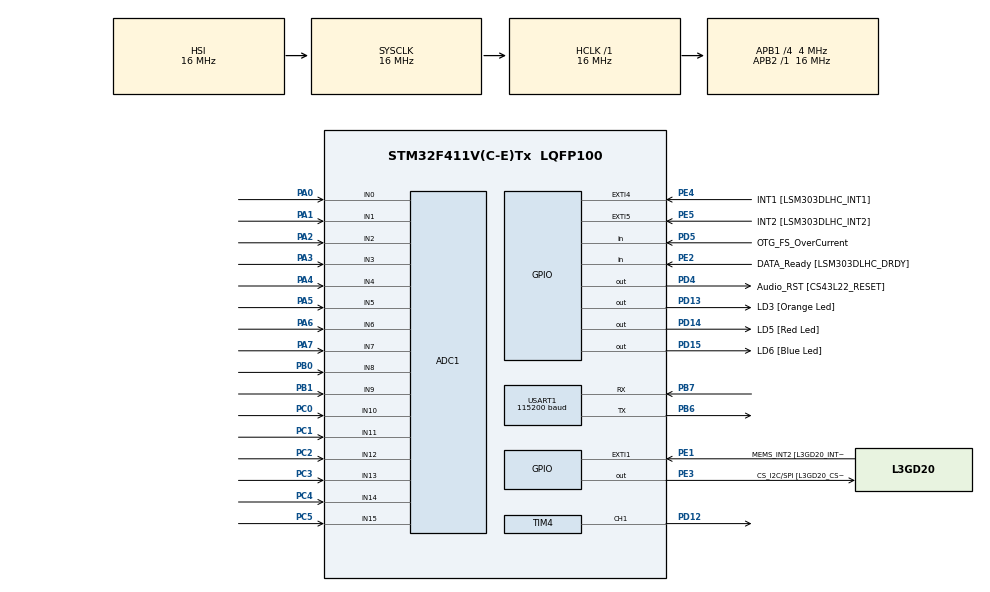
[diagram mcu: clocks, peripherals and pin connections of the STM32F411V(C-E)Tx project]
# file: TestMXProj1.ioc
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ADC1.Channel-0\#ChannelRegularConversion=ADC_CHANNEL_0
ADC1.Channel-31\#ChannelRegularConversion=ADC_CHANNEL_1
ADC1.Channel-32\#ChannelRegularConversion=ADC_CHANNEL_2
ADC1.Channel-47\#ChannelRegularConversion=ADC_CHANNEL_3
ADC1.Channel-48\#ChannelRegularConversion=ADC_CHANNEL_4
ADC1.Channel-49\#ChannelRegularConversion=ADC_CHANNEL_5
ADC1.Channel-50\#ChannelRegularConversion=ADC_CHANNEL_6
ADC1.Channel-51\#ChannelRegularConversion=ADC_CHANNEL_7
ADC1.Channel-52\#ChannelRegularConversion=ADC_CHANNEL_8
ADC1.Channel-53\#ChannelRegularConversion=ADC_CHANNEL_9
ADC1.Channel-54\#ChannelRegularConversion=ADC_CHANNEL_10
ADC1.Channel-55\#ChannelRegularConversion=ADC_CHANNEL_11
ADC1.Channel-56\#ChannelRegularConversion=ADC_CHANNEL_12
ADC1.Channel-57\#ChannelRegularConversion=ADC_CHANNEL_13
ADC1.Channel-58\#ChannelRegularConversion=ADC_CHANNEL_14
ADC1.Channel-59\#ChannelRegularConversion=ADC_CHANNEL_15
ADC1.ContinuousConvMode=ENABLE
ADC1.DMAContinuousRequests=ENABLE
ADC1.InjNumberOfConversion=0
ADC1.NbrOfConversion=16
ADC1.NbrOfConversionFlag=1
ADC1.Rank-0\#ChannelRegularConversion=1
ADC1.Rank-31\#ChannelRegularConversion=2
ADC1.Rank-32\#ChannelRegularConversion=3
ADC1.Rank-47\#ChannelRegularConversion=4
ADC1.Rank-48\#ChannelRegularConversion=5
ADC1.Rank-49\#ChannelRegularConversion=6
ADC1.Rank-50\#ChannelRegularConversion=7
ADC1.Rank-51\#ChannelRegularConversion=8
ADC1.Rank-52\#ChannelRegularConversion=9
ADC1.Rank-53\#ChannelRegularConversion=10
ADC1.Rank-54\#ChannelRegularConversion=11
ADC1.Rank-55\#ChannelRegularConversion=12
ADC1.Rank-56\#ChannelRegularConversion=13
ADC1.Rank-57\#ChannelRegularConversion=14
ADC1.Rank-58\#ChannelRegularConversion=15
ADC1.Rank-59\#ChannelRegularConversion=16
ADC1.SamplingTime-0\#ChannelRegularConversion=ADC_SAMPLETIME_144CYCLES
ADC1.SamplingTime-31\#ChannelRegularConversion=ADC_SAMPLETIME_144CYCLES
ADC1.SamplingTime-32\#ChannelRegularConversion=ADC_SAMPLETIME_144CYCLES
ADC1.SamplingTime-47\#ChannelRegularConversion=ADC_SAMPLETIME_144CYCLES
ADC1.SamplingTime-48\#ChannelRegularConversion=ADC_SAMPLETIME_144CYCLES
ADC1.SamplingTime-49\#ChannelRegularConversion=ADC_SAMPLETIME_144CYCLES
ADC1.SamplingTime-50\#ChannelRegularConversion=ADC_SAMPLETIME_144CYCLES
ADC1.SamplingTime-51\#ChannelRegularConversion=ADC_SAMPLETIME_144CYCLES
ADC1.SamplingTime-52\#ChannelRegularConversion=ADC_SAMPLETIME_144CYCLES
ADC1.SamplingTime-53\#ChannelRegularConversion=ADC_SAMPLETIME_144CYCLES
ADC1.SamplingTime-54\#ChannelRegularConversion=ADC_SAMPLETIME_144CYCLES
ADC1.SamplingTime-55\#ChannelRegularConversion=ADC_SAMPLETIME_144CYCLES
ADC1.SamplingTime-56\#ChannelRegularConversion=ADC_SAMPLETIME_144CYCLES
ADC1.SamplingTime-57\#ChannelRegularConversion=ADC_SAMPLETIME_144CYCLES
ADC1.SamplingTime-58\#ChannelRegularConversion=ADC_SAMPLETIME_144CYCLES
ADC1.SamplingTime-59\#ChannelRegularConversion=ADC_SAMPLETIME_144CYCLES
ADC1.ScanConvMode=ENABLE
ADC1.master=1
Dma.ADC1.0.Direction=DMA_PERIPH_TO_MEMORY
Dma.ADC1.0.FIFOMode=DMA_FIFOMODE_DISABLE
Dma.ADC1.0.Instance=DMA2_Stream0
Dma.ADC1.0.MemDataAlignment=DMA_MDATAALIGN_HALFWORD
Dma.ADC1.0.MemInc=DMA_MINC_ENABLE
Dma.ADC1.0.Mode=DMA_NORMAL
Dma.ADC1.0.PeriphDataAlignment=DMA_PDATAALIGN_HALFWORD
Dma.ADC1.0.PeriphInc=DMA_PINC_DISABLE
Dma.ADC1.0.Priority=DMA_PRIORITY_LOW
Dma.Request0=ADC1
Dma.Request1=USART1_TX
Dma.USART1_TX.1.Direction=DMA_MEMORY_TO_PERIPH
Dma.USART1_TX.1.FIFOMode=DMA_FIFOMODE_DISABLE
Dma.USART1_TX.1.Instance=DMA2_Stream7
Dma.USART1_TX.1.MemDataAlignment=DMA_MDATAALIGN_BYTE
Dma.USART1_TX.1.MemInc=DMA_MINC_ENABLE
Dma.USART1_TX.1.Mode=DMA_NORMAL
Dma.USART1_TX.1.PeriphDataAlignment=DMA_PDATAALIGN_BYTE
Dma.USART1_TX.1.PeriphInc=DMA_PINC_DISABLE
Dma.USART1_TX.1.Priority=DMA_PRIORITY_LOW
Mcu.Family=STM32F4
Mcu.Name=STM32F411V(C-E)Tx
Mcu.Package=LQFP100
NVIC.DMA2_Stream0_IRQn=true\:0\:0\:false\:false\:true\:false\:true\:true
NVIC.DMA2_Stream7_IRQn=true\:0\:0\:false\:false\:true\:false\:true\:true
NVIC.PriorityGroup=NVIC_PRIORITYGROUP_0
NVIC.USART1_IRQn=true\:0\:0\:false\:false\:true\:true\:true\:true
PA0-WKUP.Signal=ADCx_IN0
PA1.Signal=ADCx_IN1
PA10.GPIO_Label=OTG_FS_ID
PA10.Signal=USB_OTG_FS_ID
PA11.GPIO_Label=OTG_FS_DM
PA11.Signal=USB_OTG_FS_DM
PA13.GPIO_Label=SWDIO
PA13.Mode=Serial_Wire
PA13.Signal=SYS_JTMS-SWDIO
PA14.GPIO_Label=SWCLK
PA14.Mode=Serial_Wire
PA14.Signal=SYS_JTCK-SWCLK
PA2.Signal=ADCx_IN2
PA3.Signal=ADCx_IN3
PA4.Signal=ADCx_IN4
PA5.Signal=ADCx_IN5
PA6.Signal=ADCx_IN6
PA7.Signal=ADCx_IN7
PA9.GPIO_Label=VBUS_FS
PA9.Signal=USB_OTG_FS_VBUS
PB0.Signal=ADCx_IN8
PB1.Signal=ADCx_IN9
PB10.GPIO_Label=CLK_IN [MP45DT02_CLK]
PB10.Signal=I2S2_CK
PB12.Signal=I2S2_WS
PB3.GPIO_Label=SWO
PB3.Signal=SYS_JTDO-SWO
PB6.Mode=Asynchronous
PB6.Signal=USART1_TX
PB7.Mode=Asynchronous
PB7.Signal=USART1_RX
PB9.GPIO_Label=Audio_SDA [CS43L22_SDA]
PB9.GPIO_Mode=GPIO_MODE_AF_OD
PB9.GPIO_Pu=GPIO_PULLUP
PB9.GPIO_PuPd=GPIO_NOPULL
PB9.GPIO_Speed=GPIO_SPEED_FREQ_LOW
PB9.Signal=I2C1_SDA
PC0.Signal=ADCx_IN10
PC1.Signal=ADCx_IN11
PC10.GPIO_Label=I2S3_SCK [CS43L22_SCLK]
PC10.GPIO_Mode=GPIO_MODE_AF_PP
PC10.GPIO_PuPd=GPIO_NOPULL
PC10.GPIO_Speed=GPIO_SPEED_FREQ_LOW
PC10.Signal=I2S3_CK
PC12.GPIO_Label=I2S3_SD [CS43L22_SDIN]
PC12.GPIO_Mode=GPIO_MODE_AF_PP
PC12.GPIO_PuPd=GPIO_NOPULL
PC12.GPIO_Speed=GPIO_SPEED_FREQ_LOW
PC12.Signal=I2S3_SD
PC14-OSC32_IN.GPIO_Label=PC14-OSC32_IN
PC14-OSC32_IN.Mode=LSE-External-Oscillator
PC14-OSC32_IN.Signal=RCC_OSC32_IN
PC15-OSC32_OUT.GPIO_Label=PC15-OSC32_OUT
PC15-OSC32_OUT.Mode=LSE-External-Oscillator
PC15-OSC32_OUT.Signal=RCC_OSC32_OUT
PC2.Signal=ADCx_IN12
PC3.Signal=ADCx_IN13
PC4.Signal=ADCx_IN14
PC5.Signal=ADCx_IN15
PD12.Signal=S_TIM4_CH1
PD13.GPIO_Label=LD3 [Orange Led]
PD13.GPIO_PuPd=GPIO_NOPULL
PD13.GPIO_Speed=GPIO_SPEED_FREQ_LOW
PD13.Signal=GPIO_Output
PD14.GPIO_Label=LD5 [Red Led]
PD14.GPIO_PuPd=GPIO_NOPULL
PD14.GPIO_Speed=GPIO_SPEED_FREQ_LOW
PD14.Signal=GPIO_Output
PD15.GPIO_Label=LD6 [Blue Led]
PD15.GPIO_PuPd=GPIO_NOPULL
PD15.GPIO_Speed=GPIO_SPEED_FREQ_LOW
PD15.Signal=GPIO_Output
PD4.GPIO_Label=Audio_RST [CS43L22_RESET]
PD4.Signal=GPIO_Output
PD5.GPIO_Label=OTG_FS_OverCurrent
PD5.Signal=GPIO_Input
PE1.GPIO_Label=MEMS_INT2 [L3GD20_INT2]
PE1.GPIO_ModeDefaultEXTI=GPIO_MODE_EVT_RISING
PE1.Signal=GPXTI1
PE2.GPIO_Label=DATA_Ready [LSM303DLHC_DRDY]
PE2.Signal=GPIO_Input
PE3.GPIO_Label=CS_I2C/SPI [L3GD20_CS_I2C/SPI]
PE3.Signal=GPIO_Output
PE4.GPIO_Label=INT1 [LSM303DLHC_INT1]
PE4.GPIO_ModeDefaultEXTI=GPIO_MODE_EVT_RISING
PE4.Signal=GPXTI4
PE5.GPIO_Label=INT2 [LSM303DLHC_INT2]
PE5.GPIO_ModeDefaultEXTI=GPIO_MODE_EVT_RISING
PE5.Signal=GPXTI5
PH0\ -\ OSC_IN.GPIO_Label=PH0-OSC_IN
PH0\ -\ OSC_IN.Signal=RCC_OSC_IN
PH1\ -\ OSC_OUT.GPIO_Label=PH1-OSC_OUT
PH1\ -\ OSC_OUT.Signal=RCC_OSC_OUT
ProjectManager.HeapSize=0x200
ProjectManager.StackSize=0x400
ProjectManager.TargetToolchain=STM32CubeIDE
RCC.48MHZClocksFreq_Value=12500000
RCC.AHBFreq_Value=16000000
RCC.APB1CLKDivider=RCC_HCLK_DIV4
RCC.APB1Freq_Value=4000000
RCC.APB1TimFreq_Value=8000000
RCC.APB2Freq_Value=16000000
RCC.APB2TimFreq_Value=16000000
RCC.CortexFreq_Value=16000000
RCC.HCLKFreq_Value=16000000
RCC.HSE_VALUE=8000000
RCC.HSI_VALUE=16000000
RCC.PLLI2SM=8
RCC.PLLI2SN=200
RCC.PLLM=8
RCC.PLLN=50
RCC.PLLP=RCC_PLLP_DIV4
RCC.PLLQ=8
RCC.SYSCLKFreq_VALUE=16000000
RCC.VCOOutputFreq_Value=100000000
SH.ADCx_IN0.0=ADC1_IN0,IN0
SH.ADCx_IN1.0=ADC1_IN1,IN1
SH.ADCx_IN10.0=ADC1_IN10,IN10
SH.ADCx_IN11.0=ADC1_IN11,IN11
SH.ADCx_IN12.0=ADC1_IN12,IN12
SH.ADCx_IN13.0=ADC1_IN13,IN13
SH.ADCx_IN14.0=ADC1_IN14,IN14
SH.ADCx_IN15.0=ADC1_IN15,IN15
SH.ADCx_IN2.0=ADC1_IN2,IN2
SH.ADCx_IN3.0=ADC1_IN3,IN3
SH.ADCx_IN4.0=ADC1_IN4,IN4
SH.ADCx_IN5.0=ADC1_IN5,IN5
SH.ADCx_IN6.0=ADC1_IN6,IN6
SH.ADCx_IN7.0=ADC1_IN7,IN7
SH.ADCx_IN8.0=ADC1_IN8,IN8
SH.ADCx_IN9.0=ADC1_IN9,IN9
SH.S_TIM4_CH1.0=TIM4_CH1,PWM Generation1 CH1
TIM4.Channel-PWM\ Generation1\ CH1=TIM_CHANNEL_1
USART1.BaudRate=115200
USART1.VirtualMode=VM_ASYNC
VP_TIM4_VS_ClockSourceINT.Mode=Internal
board=STM32F411E-DISCO

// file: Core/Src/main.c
/* USER CODE BEGIN Header */
/**
  ******************************************************************************
  * @file           : main.c
  * @brief          : Main program body
  ******************************************************************************
  * @attention
  *
  * Copyright (c) 2026 STMicroelectronics.
  * All rights reserved.
  *
  * This software is licensed under terms that can be found in the LICENSE file
  * in the root directory of this software component.
  * If no LICENSE file comes with this software, it is provided AS-IS.
  *
  ******************************************************************************
  */
/* USER CODE END Header */
#include "main.h"

/* USER CODE BEGIN Includes */

//  #include "arm_math.h"

/* USER CODE END Includes */

/* USER CODE BEGIN PD */

#define NUM_CHANNELS          16

#define SAMPLES_PER_CHANNEL   256

#define ADC_BUFFER_LEN        (NUM_CHANNELS * SAMPLES_PER_CHANNEL)

/* USER CODE END PD */

ADC_HandleTypeDef hadc1;
DMA_HandleTypeDef hdma_adc1;

TIM_HandleTypeDef htim4;

UART_HandleTypeDef huart1;
DMA_HandleTypeDef hdma_usart1_tx;

/* USER CODE BEGIN PV */

uint16_t adc_buffer[ADC_BUFFER_LEN];
volatile uint8_t data_ready = 0;

// Scratch buffer holding one de-interleaved channel's worth of samples,
// used right before sending that channel's packet.
uint16_t channel_buffer[SAMPLES_PER_CHANNEL];

// Which channel's packet is currently being sent (0..NUM_CHANNELS-1).
// Cycles through all channels once per captured block before the ADC
// is allowed to restart.
volatile uint8_t current_channel_to_send = 0;

/* USER CODE END PV */

void SystemClock_Config(void);
static void MX_GPIO_Init(void);
static void MX_DMA_Init(void);
static void MX_ADC1_Init(void);
static void MX_TIM4_Init(void);
static void MX_USART1_UART_Init(void);

/* USER CODE BEGIN 0 */

void HAL_ADC_ConvCpltCallback(ADC_HandleTypeDef* hadc) {
    if (hadc->Instance == ADC1) {
        HAL_ADC_Stop_DMA(&hadc1);
        data_ready = 1;
    }
}

void Send_Channel_Packet(uint8_t ch) {
    uint8_t header[5] = {0xAA, 0xBB, 0xCC, 0xDD, ch};
    HAL_UART_Transmit(&huart1, header, 5, HAL_MAX_DELAY);

    for (uint32_t i = 0; i < SAMPLES_PER_CHANNEL; i++) {
        channel_buffer[i] = adc_buffer[i * NUM_CHANNELS + ch];
    }

    HAL_UART_Transmit_DMA(&huart1, (uint8_t*)channel_buffer,
                           SAMPLES_PER_CHANNEL * sizeof(uint16_t));
}

void HAL_UART_TxCpltCallback(UART_HandleTypeDef *huart) {
    if (huart->Instance == USART1) {
        current_channel_to_send++;
        if (current_channel_to_send < NUM_CHANNELS) {
            Send_Channel_Packet(current_channel_to_send);
        } else {
            current_channel_to_send = 0;
            HAL_ADC_Start_DMA(&hadc1, (uint32_t*)adc_buffer, ADC_BUFFER_LEN);
        }
    }
}

/* USER CODE END 0 */

int main(void)
{

  /* MCU Configuration--------------------------------------------------------*/

  /* Reset of all peripherals, Initializes the Flash interface and the Systick. */
  HAL_Init();

  /* Configure the system clock */
  SystemClock_Config();

  /* Initialize all configured peripherals */
  MX_GPIO_Init();
  MX_DMA_Init();
  MX_ADC1_Init();
  MX_TIM4_Init();
  MX_USART1_UART_Init();
  /* USER CODE BEGIN 2 */

  HAL_ADC_Start_DMA(&hadc1, (uint32_t*)adc_buffer, ADC_BUFFER_LEN);

  /* USER CODE END 2 */

  /* Infinite loop */
  /* USER CODE BEGIN WHILE */
  while (1) {
	  if (data_ready == 1) {
		  // Send only if UART finished the previous transmission
		  if (huart1.gState == HAL_UART_STATE_READY) {
			  data_ready = 0;
			  current_channel_to_send = 0;
			  Send_Channel_Packet(0);
		  }
	  }

  }
    /* USER CODE END WHILE */

}

void SystemClock_Config(void)
{
  RCC_OscInitTypeDef RCC_OscInitStruct = {0};
  RCC_ClkInitTypeDef RCC_ClkInitStruct = {0};

  /** Configure the main internal regulator output voltage
  */
  __HAL_RCC_PWR_CLK_ENABLE();
  __HAL_PWR_VOLTAGESCALING_CONFIG(PWR_REGULATOR_VOLTAGE_SCALE1);

  /** Initializes the RCC Oscillators according to the specified parameters
  * in the RCC_OscInitTypeDef structure.
  */
  RCC_OscInitStruct.OscillatorType = RCC_OSCILLATORTYPE_HSI;
  RCC_OscInitStruct.HSIState = RCC_HSI_ON;
  RCC_OscInitStruct.HSICalibrationValue = RCC_HSICALIBRATION_DEFAULT;
  RCC_OscInitStruct.PLL.PLLState = RCC_PLL_NONE;
  if (HAL_RCC_OscConfig(&RCC_OscInitStruct) != HAL_OK)
  {
    Error_Handler();
  }

  /** Initializes the CPU, AHB and APB buses clocks
  */
  RCC_ClkInitStruct.ClockType = RCC_CLOCKTYPE_HCLK|RCC_CLOCKTYPE_SYSCLK
                              |RCC_CLOCKTYPE_PCLK1|RCC_CLOCKTYPE_PCLK2;
  RCC_ClkInitStruct.SYSCLKSource = RCC_SYSCLKSOURCE_HSI;
  RCC_ClkInitStruct.AHBCLKDivider = RCC_SYSCLK_DIV1;
  RCC_ClkInitStruct.APB1CLKDivider = RCC_HCLK_DIV4;
  RCC_ClkInitStruct.APB2CLKDivider = RCC_HCLK_DIV1;

  if (HAL_RCC_ClockConfig(&RCC_ClkInitStruct, FLASH_LATENCY_0) != HAL_OK)
  {
    Error_Handler();
  }
}

static void MX_ADC1_Init(void)
{

  ADC_ChannelConfTypeDef sConfig = {0};

  /** Configure the global features of the ADC (Clock, Resolution, Data Alignment and number of conversion)
  */
  hadc1.Instance = ADC1;
  hadc1.Init.ClockPrescaler = ADC_CLOCK_SYNC_PCLK_DIV2;
  hadc1.Init.Resolution = ADC_RESOLUTION_12B;
  hadc1.Init.ScanConvMode = ENABLE;
  hadc1.Init.ContinuousConvMode = ENABLE;
  hadc1.Init.DiscontinuousConvMode = DISABLE;
  hadc1.Init.ExternalTrigConvEdge = ADC_EXTERNALTRIGCONVEDGE_NONE;
  hadc1.Init.ExternalTrigConv = ADC_SOFTWARE_START;
  hadc1.Init.DataAlign = ADC_DATAALIGN_RIGHT;
  hadc1.Init.NbrOfConversion = 16;
  hadc1.Init.DMAContinuousRequests = ENABLE;
  hadc1.Init.EOCSelection = ADC_EOC_SINGLE_CONV;
  if (HAL_ADC_Init(&hadc1) != HAL_OK)
  {
    Error_Handler();
  }

  /** Configure for the selected ADC regular channel its corresponding rank in the sequencer and its sample time.
  */
  sConfig.Channel = ADC_CHANNEL_0;
  sConfig.Rank = 1;
  sConfig.SamplingTime = ADC_SAMPLETIME_144CYCLES;
  if (HAL_ADC_ConfigChannel(&hadc1, &sConfig) != HAL_OK)
  {
    Error_Handler();
  }

  /** Configure for the selected ADC regular channel its corresponding rank in the sequencer and its sample time.
  */
  sConfig.Channel = ADC_CHANNEL_1;
  sConfig.Rank = 2;
  if (HAL_ADC_ConfigChannel(&hadc1, &sConfig) != HAL_OK)
  {
    Error_Handler();
  }

  /** Configure for the selected ADC regular channel its corresponding rank in the sequencer and its sample time.
  */
  sConfig.Channel = ADC_CHANNEL_2;
  sConfig.Rank = 3;
  if (HAL_ADC_ConfigChannel(&hadc1, &sConfig) != HAL_OK)
  {
    Error_Handler();
  }

  /** Configure for the selected ADC regular channel its corresponding rank in the sequencer and its sample time.
  */
  sConfig.Channel = ADC_CHANNEL_3;
  sConfig.Rank = 4;
  if (HAL_ADC_ConfigChannel(&hadc1, &sConfig) != HAL_OK)
  {
    Error_Handler();
  }

  /** Configure for the selected ADC regular channel its corresponding rank in the sequencer and its sample time.
  */
  sConfig.Channel = ADC_CHANNEL_4;
  sConfig.Rank = 5;
  if (HAL_ADC_ConfigChannel(&hadc1, &sConfig) != HAL_OK)
  {
    Error_Handler();
  }

  /** Configure for the selected ADC regular channel its corresponding rank in the sequencer and its sample time.
  */
  sConfig.Channel = ADC_CHANNEL_5;
  sConfig.Rank = 6;
  if (HAL_ADC_ConfigChannel(&hadc1, &sConfig) != HAL_OK)
  {
    Error_Handler();
  }

  /** Configure for the selected ADC regular channel its corresponding rank in the sequencer and its sample time.
  */
  sConfig.Channel = ADC_CHANNEL_6;
  sConfig.Rank = 7;
  if (HAL_ADC_ConfigChannel(&hadc1, &sConfig) != HAL_OK)
  {
    Error_Handler();
  }

  /** Configure for the selected ADC regular channel its corresponding rank in the sequencer and its sample time.
  */
  sConfig.Channel = ADC_CHANNEL_7;
  sConfig.Rank = 8;
  if (HAL_ADC_ConfigChannel(&hadc1, &sConfig) != HAL_OK)
  {
    Error_Handler();
  }

  /** Configure for the selected ADC regular channel its corresponding rank in the sequencer and its sample time.
  */
  sConfig.Channel = ADC_CHANNEL_8;
  sConfig.Rank = 9;
  if (HAL_ADC_ConfigChannel(&hadc1, &sConfig) != HAL_OK)
  {
    Error_Handler();
  }

  /** Configure for the selected ADC regular channel its corresponding rank in the sequencer and its sample time.
  */
  sConfig.Channel = ADC_CHANNEL_9;
  sConfig.Rank = 10;
  if (HAL_ADC_ConfigChannel(&hadc1, &sConfig) != HAL_OK)
  {
    Error_Handler();
  }

  /** Configure for the selected ADC regular channel its corresponding rank in the sequencer and its sample time.
  */
  sConfig.Channel = ADC_CHANNEL_10;
  sConfig.Rank = 11;
  if (HAL_ADC_ConfigChannel(&hadc1, &sConfig) != HAL_OK)
  {
    Error_Handler();
  }

  /** Configure for the selected ADC regular channel its corresponding rank in the sequencer and its sample time.
  */
  sConfig.Channel = ADC_CHANNEL_11;
  sConfig.Rank = 12;
  if (HAL_ADC_ConfigChannel(&hadc1, &sConfig) != HAL_OK)
  {
    Error_Handler();
  }

  /** Configure for the selected ADC regular channel its corresponding rank in the sequencer and its sample time.
  */
  sConfig.Channel = ADC_CHANNEL_12;
  sConfig.Rank = 13;
  if (HAL_ADC_ConfigChannel(&hadc1, &sConfig) != HAL_OK)
  {
    Error_Handler();
  }

  /** Configure for the selected ADC regular channel its corresponding rank in the sequencer and its sample time.
  */
  sConfig.Channel = ADC_CHANNEL_13;
  sConfig.Rank = 14;
  if (HAL_ADC_ConfigChannel(&hadc1, &sConfig) != HAL_OK)
  {
    Error_Handler();
  }

  /** Configure for the selected ADC regular channel its corresponding rank in the sequencer and its sample time.
  */
  sConfig.Channel = ADC_CHANNEL_14;
  sConfig.Rank = 15;
  if (HAL_ADC_ConfigChannel(&hadc1, &sConfig) != HAL_OK)
  {
    Error_Handler();
  }

  /** Configure for the selected ADC regular channel its corresponding rank in the sequencer and its sample time.
  */
  sConfig.Channel = ADC_CHANNEL_15;
  sConfig.Rank = 16;
  if (HAL_ADC_ConfigChannel(&hadc1, &sConfig) != HAL_OK)
  {
    Error_Handler();
  }

}

static void MX_TIM4_Init(void)
{

  TIM_ClockConfigTypeDef sClockSourceConfig = {0};
  TIM_MasterConfigTypeDef sMasterConfig = {0};
  TIM_OC_InitTypeDef sConfigOC = {0};

  htim4.Instance = TIM4;
  htim4.Init.Prescaler = 0;
  htim4.Init.CounterMode = TIM_COUNTERMODE_UP;
  htim4.Init.Period = 65535;
  htim4.Init.ClockDivision = TIM_CLOCKDIVISION_DIV1;
  htim4.Init.AutoReloadPreload = TIM_AUTORELOAD_PRELOAD_DISABLE;
  if (HAL_TIM_Base_Init(&htim4) != HAL_OK)
  {
    Error_Handler();
  }
  sClockSourceConfig.ClockSource = TIM_CLOCKSOURCE_INTERNAL;
  if (HAL_TIM_ConfigClockSource(&htim4, &sClockSourceConfig) != HAL_OK)
  {
    Error_Handler();
  }
  if (HAL_TIM_PWM_Init(&htim4) != HAL_OK)
  {
    Error_Handler();
  }
  sMasterConfig.MasterOutputTrigger = TIM_TRGO_RESET;
  sMasterConfig.MasterSlaveMode = TIM_MASTERSLAVEMODE_DISABLE;
  if (HAL_TIMEx_MasterConfigSynchronization(&htim4, &sMasterConfig) != HAL_OK)
  {
    Error_Handler();
  }
  sConfigOC.OCMode = TIM_OCMODE_PWM1;
  sConfigOC.Pulse = 0;
  sConfigOC.OCPolarity = TIM_OCPOLARITY_HIGH;
  sConfigOC.OCFastMode = TIM_OCFAST_DISABLE;
  if (HAL_TIM_PWM_ConfigChannel(&htim4, &sConfigOC, TIM_CHANNEL_1) != HAL_OK)
  {
    Error_Handler();
  }
  HAL_TIM_MspPostInit(&htim4);

}

static void MX_USART1_UART_Init(void)
{

  huart1.Instance = USART1;
  huart1.Init.BaudRate = 115200;
  huart1.Init.WordLength = UART_WORDLENGTH_8B;
  huart1.Init.StopBits = UART_STOPBITS_1;
  huart1.Init.Parity = UART_PARITY_NONE;
  huart1.Init.Mode = UART_MODE_TX_RX;
  huart1.Init.HwFlowCtl = UART_HWCONTROL_NONE;
  huart1.Init.OverSampling = UART_OVERSAMPLING_16;
  if (HAL_UART_Init(&huart1) != HAL_OK)
  {
    Error_Handler();
  }

}

static void MX_DMA_Init(void)
{

  /* DMA controller clock enable */
  __HAL_RCC_DMA2_CLK_ENABLE();

  /* DMA interrupt init */
  /* DMA2_Stream0_IRQn interrupt configuration */
  HAL_NVIC_SetPriority(DMA2_Stream0_IRQn, 0, 0);
  HAL_NVIC_EnableIRQ(DMA2_Stream0_IRQn);
  /* DMA2_Stream7_IRQn interrupt configuration */
  HAL_NVIC_SetPriority(DMA2_Stream7_IRQn, 0, 0);
  HAL_NVIC_EnableIRQ(DMA2_Stream7_IRQn);

}

static void MX_GPIO_Init(void)
{
  GPIO_InitTypeDef GPIO_InitStruct = {0};

  /* GPIO Ports Clock Enable */
  __HAL_RCC_GPIOE_CLK_ENABLE();
  __HAL_RCC_GPIOC_CLK_ENABLE();
  __HAL_RCC_GPIOH_CLK_ENABLE();
  __HAL_RCC_GPIOA_CLK_ENABLE();
  __HAL_RCC_GPIOB_CLK_ENABLE();
  __HAL_RCC_GPIOD_CLK_ENABLE();

  /*Configure GPIO pin Output Level */
  HAL_GPIO_WritePin(CS_I2C_SPI_GPIO_Port, CS_I2C_SPI_Pin, GPIO_PIN_RESET);

  /*Configure GPIO pin Output Level */
  HAL_GPIO_WritePin(GPIOD, LD3_Pin|LD5_Pin|LD6_Pin|Audio_RST_Pin, GPIO_PIN_RESET);

  /*Configure GPIO pin : DATA_Ready_Pin */
  GPIO_InitStruct.Pin = DATA_Ready_Pin;
  GPIO_InitStruct.Mode = GPIO_MODE_INPUT;
  GPIO_InitStruct.Pull = GPIO_NOPULL;
  HAL_GPIO_Init(DATA_Ready_GPIO_Port, &GPIO_InitStruct);

  /*Configure GPIO pin : CS_I2C_SPI_Pin */
  GPIO_InitStruct.Pin = CS_I2C_SPI_Pin;
  GPIO_InitStruct.Mode = GPIO_MODE_OUTPUT_PP;
  GPIO_InitStruct.Pull = GPIO_NOPULL;
  GPIO_InitStruct.Speed = GPIO_SPEED_FREQ_LOW;
  HAL_GPIO_Init(CS_I2C_SPI_GPIO_Port, &GPIO_InitStruct);

  /*Configure GPIO pins : INT1_Pin INT2_Pin MEMS_INT2_Pin */
  GPIO_InitStruct.Pin = INT1_Pin|INT2_Pin|MEMS_INT2_Pin;
  GPIO_InitStruct.Mode = GPIO_MODE_EVT_RISING;
  GPIO_InitStruct.Pull = GPIO_NOPULL;
  HAL_GPIO_Init(GPIOE, &GPIO_InitStruct);

  /*Configure GPIO pins : CLK_IN_Pin PB12 */
  GPIO_InitStruct.Pin = CLK_IN_Pin|GPIO_PIN_12;
  GPIO_InitStruct.Mode = GPIO_MODE_AF_PP;
  GPIO_InitStruct.Pull = GPIO_NOPULL;
  GPIO_InitStruct.Speed = GPIO_SPEED_FREQ_LOW;
  GPIO_InitStruct.Alternate = GPIO_AF5_SPI2;
  HAL_GPIO_Init(GPIOB, &GPIO_InitStruct);

  /*Configure GPIO pins : LD3_Pin LD5_Pin LD6_Pin Audio_RST_Pin */
  GPIO_InitStruct.Pin = LD3_Pin|LD5_Pin|LD6_Pin|Audio_RST_Pin;
  GPIO_InitStruct.Mode = GPIO_MODE_OUTPUT_PP;
  GPIO_InitStruct.Pull = GPIO_NOPULL;
  GPIO_InitStruct.Speed = GPIO_SPEED_FREQ_LOW;
  HAL_GPIO_Init(GPIOD, &GPIO_InitStruct);

  /*Configure GPIO pin : VBUS_FS_Pin */
  GPIO_InitStruct.Pin = VBUS_FS_Pin;
  GPIO_InitStruct.Mode = GPIO_MODE_INPUT;
  GPIO_InitStruct.Pull = GPIO_NOPULL;
  HAL_GPIO_Init(VBUS_FS_GPIO_Port, &GPIO_InitStruct);

  /*Configure GPIO pins : OTG_FS_ID_Pin OTG_FS_DM_Pin */
  GPIO_InitStruct.Pin = OTG_FS_ID_Pin|OTG_FS_DM_Pin;
  GPIO_InitStruct.Mode = GPIO_MODE_AF_PP;
  GPIO_InitStruct.Pull = GPIO_NOPULL;
  GPIO_InitStruct.Speed = GPIO_SPEED_FREQ_VERY_HIGH;
  GPIO_InitStruct.Alternate = GPIO_AF10_OTG_FS;
  HAL_GPIO_Init(GPIOA, &GPIO_InitStruct);

  /*Configure GPIO pins : I2S3_SCK_Pin I2S3_SD_Pin */
  GPIO_InitStruct.Pin = I2S3_SCK_Pin|I2S3_SD_Pin;
  GPIO_InitStruct.Mode = GPIO_MODE_AF_PP;
  GPIO_InitStruct.Pull = GPIO_NOPULL;
  GPIO_InitStruct.Speed = GPIO_SPEED_FREQ_LOW;
  GPIO_InitStruct.Alternate = GPIO_AF6_SPI3;
  HAL_GPIO_Init(GPIOC, &GPIO_InitStruct);

  /*Configure GPIO pin : OTG_FS_OverCurrent_Pin */
  GPIO_InitStruct.Pin = OTG_FS_OverCurrent_Pin;
  GPIO_InitStruct.Mode = GPIO_MODE_INPUT;
  GPIO_InitStruct.Pull = GPIO_NOPULL;
  HAL_GPIO_Init(OTG_FS_OverCurrent_GPIO_Port, &GPIO_InitStruct);

  /*Configure GPIO pin : Audio_SDA_Pin */
  GPIO_InitStruct.Pin = Audio_SDA_Pin;
  GPIO_InitStruct.Mode = GPIO_MODE_AF_OD;
  GPIO_InitStruct.Pull = GPIO_PULLUP;
  GPIO_InitStruct.Speed = GPIO_SPEED_FREQ_LOW;
  GPIO_InitStruct.Alternate = GPIO_AF4_I2C1;
  HAL_GPIO_Init(Audio_SDA_GPIO_Port, &GPIO_InitStruct);

}

void Error_Handler(void)
{
  __disable_irq();
  while (1)
  {
  }
}
